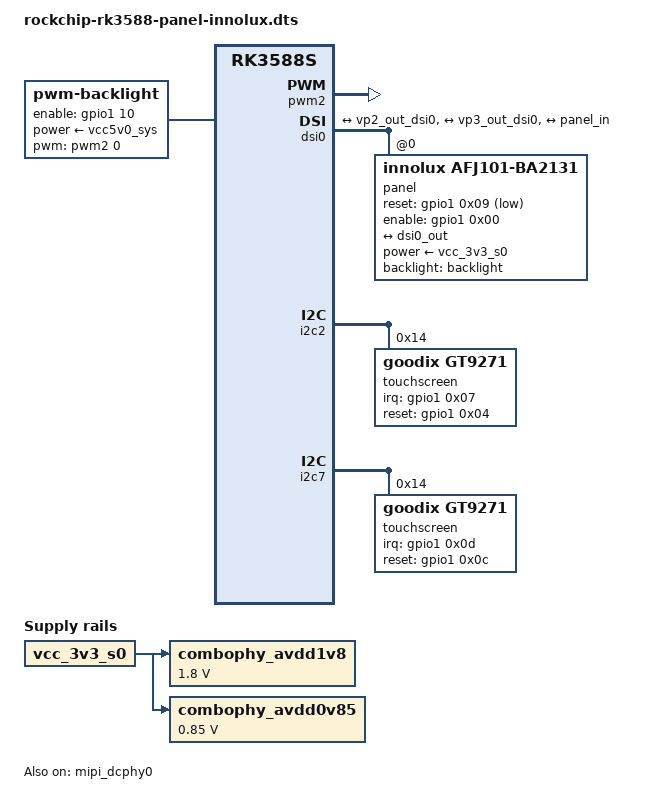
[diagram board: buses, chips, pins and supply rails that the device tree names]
/dts-v1/;
/plugin/;

/ {
    compatible = "rockchip,rk3588s-orangepi-5";

    fragment@0 {
        target = <&pwm2>;
        __overlay__ {
            status = "okay";
        };
    };

    fragment@1 {
        target-path = "/";
        __overlay__ {
            backlight: backlight {
                compatible = "pwm-backlight";
                pwms = <&pwm2 0 25000 0>;
                power-supply = <&vcc5v0_sys>;
                brightness-levels = <0 16 32 48 64 80 96 112 128 144 160 176 192 200 224 240 255>;
                default-brightness-level = <16>;
                enable-gpios = <&gpio1 10 0>;
                status = "okay";
            };
            
            combophy_avdd1v8: combophy-avdd1v8 {
                compatible = "regulator-fixed";
                regulator-name = "combophy_avdd1v8";
                regulator-min-microvolt = <0x1b7740>; /* 1.8V */
                regulator-max-microvolt = <0x1b7740>;
                regulator-boot-on;
                regulator-always-on;
                vin-supply = <&vcc_3v3_s0>;
            };

            combophy_avdd0v85: combophy-avdd0v85 {
                compatible = "regulator-fixed";
                regulator-name = "combophy_avdd0v85";
                regulator-min-microvolt = <0xcf850>; /* 0.85V */
                regulator-max-microvolt = <0xcf850>;
                regulator-boot-on;
                regulator-always-on;
                vin-supply = <&vcc_3v3_s0>;
            };
        };
    };

    fragment@2 {
        target = <&dsi0>;
        __overlay__ {
            status = "okay";

            panel@0 {
                status = "okay";
                compatible = "innolux,afj101-ba2131";
                reg = <0x00>;
                power-supply = <&vcc_3v3_s0>;
                backlight = <&backlight>;
                reset-gpios = <&gpio1 0x09 0x01>;
                enable-gpios = <&gpio1 0x00 0x00>;
                pinctrl-names = "default";
                pinctrl-0 = <&lcd0_rst_gpio>;
                video-mode = "video-sync-pulse";
                bpc = <8>;

                ports {
                    #address-cells = <0x01>;
                    #size-cells = <0x00>;

                    port@0 {
                        reg = <0x00>;

                        panel_in: endpoint {
                            remote-endpoint = <&dsi0_out>;
                        };
                    };
                };
            };

            ports {
                port@0 {
                    reg = <0>;

                    dsi0_in_vp2: endpoint@0 {
                        reg = <0>;
                        remote-endpoint = <&vp2_out_dsi0>;
                        status = "okay";
                    };

                    dsi0_in_vp3: endpoint@1 {
                        reg = <1>;
                        remote-endpoint = <&vp3_out_dsi0>;
                        status = "disabled";
                    };
                };

                port@1 {
                    reg = <1>;
                    dsi0_out: endpoint {
                        remote-endpoint = <&panel_in>;
                        status = "okay";
                    };
                };
            };
        };
    };

    fragment@3 {
        target = <&mipi_dcphy0>;
        __overlay__ {
            status = "okay";
        };
    };

    fragment@4 {
        target = <&dsi0_in_vp2>;
        __overlay__ {
            status = "okay";
        };
    };

    fragment@5 {
        target = <&i2c2>;
        __overlay__ {
            status = "okay";
            touchscreen@14 {
                compatible = "goodix,gt9271";
                reg = <0x14>;
                interrupt-parent = <&gpio1>;
                interrupts = <0x07 0x08>;
                irq-gpios = <&gpio1 0x07 0x08>;
                reset-gpios = <&gpio1 0x04 0x00>;
                touchscreen-inverted-x;
                touchscreen-swapped-x-y;
                touchscreen-size-x = <0x500>;
                touchscreen-size-y = <0x320>;
                status = "okay";
            };
        };
    };

    fragment@6 {
        target = <&i2c7>;
        __overlay__ {
            status = "okay";
            touchscreen@14 {
                compatible = "goodix,gt9271";
                reg = <0x14>;
                interrupt-parent = <&gpio1>;
                interrupts = <0x0d 0x08>;
                irq-gpios = <&gpio1 0x0d 0x08>;
                reset-gpios = <&gpio1 0x0c 0x00>;
                touchscreen-inverted-x;
                touchscreen-swapped-x-y;
                touchscreen-size-x = <0x500>;
                touchscreen-size-y = <0x320>;
                status = "okay";
            };
        };
    };
};
